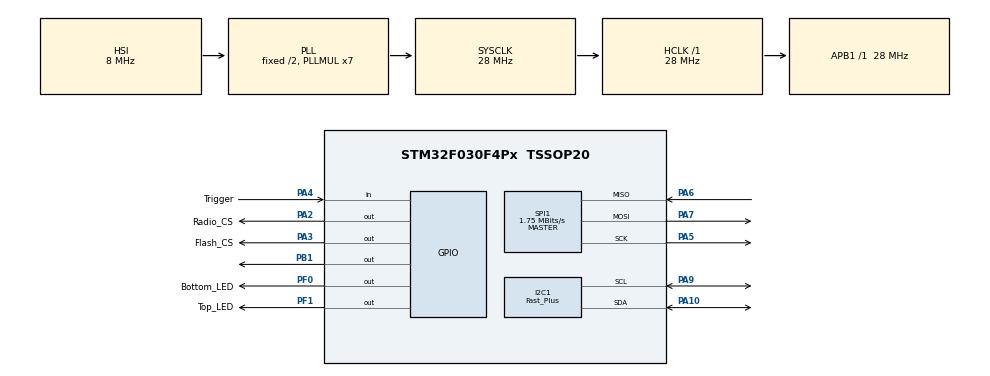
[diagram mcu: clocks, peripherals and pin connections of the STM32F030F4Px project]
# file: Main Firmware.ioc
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I2C1.I2C_Speed_Mode=I2C_Fast_Plus
I2C1.Timing=0x20000203
Mcu.Family=STM32F0
Mcu.Name=STM32F030F4Px
Mcu.Package=TSSOP20
PA10.Mode=I2C
PA10.Signal=I2C1_SDA
PA13.Mode=Serial_Wire
PA13.Signal=SYS_SWDIO
PA14.Mode=Serial_Wire
PA14.Signal=SYS_SWCLK
PA2.GPIO_Label=Radio_CS
PA2.GPIO_Speed=GPIO_SPEED_FREQ_HIGH
PA2.Signal=GPIO_Output
PA3.GPIO_Label=Flash_CS
PA3.GPIO_Speed=GPIO_SPEED_FREQ_HIGH
PA3.Signal=GPIO_Output
PA4.GPIO_Label=Trigger
PA4.GPIO_PuPd=GPIO_PULLUP
PA4.Signal=GPIO_Input
PA5.Mode=Full_Duplex_Master
PA5.Signal=SPI1_SCK
PA6.Mode=Full_Duplex_Master
PA6.Signal=SPI1_MISO
PA7.Mode=Full_Duplex_Master
PA7.Signal=SPI1_MOSI
PA9.Mode=I2C
PA9.Signal=I2C1_SCL
PB1.Signal=GPIO_Output
PF0-OSC_IN.GPIO_Label=Bottom_LED
PF0-OSC_IN.Signal=GPIO_Output
PF1-OSC_OUT.GPIO_Label=Top_LED
PF1-OSC_OUT.Signal=GPIO_Output
ProjectManager.HeapSize=0x200
ProjectManager.StackSize=0x400
ProjectManager.TargetToolchain=SW4STM32
RCC.AHBFreq_Value=28000000
RCC.APB1Freq_Value=28000000
RCC.APB1TimFreq_Value=28000000
RCC.HCLKFreq_Value=28000000
RCC.I2c1ClockSelection=RCC_I2C1CLKSOURCE_SYSCLK
RCC.PLLMUL=RCC_PLL_MUL7
RCC.SYSCLKFreq_VALUE=28000000
RCC.SYSCLKSource=RCC_SYSCLKSOURCE_PLLCLK
SPI1.BaudRatePrescaler=SPI_BAUDRATEPRESCALER_16
SPI1.CalculateBaudRate=1.75 MBits/s
SPI1.DataSize=SPI_DATASIZE_8BIT
SPI1.Direction=SPI_DIRECTION_2LINES
SPI1.Mode=SPI_MODE_MASTER
SPI1.VirtualType=VM_MASTER
board=custom

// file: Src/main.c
/**
  ******************************************************************************
  * @file           : main.c
  * @brief          : Main program body
  ******************************************************************************
  ** This notice applies to any and all portions of this file
  * that are not between comment pairs USER CODE BEGIN and
  * USER CODE END. Other portions of this file, whether
  * inserted by the user or by software development tools
  * are owned by their respective copyright owners.
  *
  * COPYRIGHT(c) 2019 STMicroelectronics
  *
  * Redistribution and use in source and binary forms, with or without modification,
  * are permitted provided that the following conditions are met:
  *   1. Redistributions of source code must retain the above copyright notice,
  *      this list of conditions and the following disclaimer.
  *   2. Redistributions in binary form must reproduce the above copyright notice,
  *      this list of conditions and the following disclaimer in the documentation
  *      and/or other materials provided with the distribution.
  *   3. Neither the name of STMicroelectronics nor the names of its contributors
  *      may be used to endorse or promote products derived from this software
  *      without specific prior written permission.
  *
  * THIS SOFTWARE IS PROVIDED BY THE COPYRIGHT HOLDERS AND CONTRIBUTORS "AS IS"
  * AND ANY EXPRESS OR IMPLIED WARRANTIES, INCLUDING, BUT NOT LIMITED TO, THE
  * IMPLIED WARRANTIES OF MERCHANTABILITY AND FITNESS FOR A PARTICULAR PURPOSE ARE
  * DISCLAIMED. IN NO EVENT SHALL THE COPYRIGHT HOLDER OR CONTRIBUTORS BE LIABLE
  * FOR ANY DIRECT, INDIRECT, INCIDENTAL, SPECIAL, EXEMPLARY, OR CONSEQUENTIAL
  * DAMAGES (INCLUDING, BUT NOT LIMITED TO, PROCUREMENT OF SUBSTITUTE GOODS OR
  * SERVICES; LOSS OF USE, DATA, OR PROFITS; OR BUSINESS INTERRUPTION) HOWEVER
  * CAUSED AND ON ANY THEORY OF LIABILITY, WHETHER IN CONTRACT, STRICT LIABILITY,
  * OR TORT (INCLUDING NEGLIGENCE OR OTHERWISE) ARISING IN ANY WAY OUT OF THE USE
  * OF THIS SOFTWARE, EVEN IF ADVISED OF THE POSSIBILITY OF SUCH DAMAGE.
  *
  ******************************************************************************
  */
#include "main.h"
#include "stm32f0xx_hal.h"

/* USER CODE BEGIN Includes */
#include "MY_NRF24.h"
#include "stdbool.h"
#define BIAS_LEVEL 127
/* USER CODE END Includes */

I2C_HandleTypeDef hi2c1;

SPI_HandleTypeDef hspi1;

/* USER CODE BEGIN PV */
/* Private variables ---------------------------------------------------------*/

/* USER CODE END PV */

void SystemClock_Config(void);
static void MX_GPIO_Init(void);
static void MX_I2C1_Init(void);
static void MX_SPI1_Init(void);

/* USER CODE BEGIN PFP */
/* Private function prototypes -----------------------------------------------*/

/* USER CODE END PFP */

/* USER CODE BEGIN 0 */
unsigned char buffer[3];

void dacOutput(char eightBitValue)
{

	//int twelveBitValue = eightBitValue * ((1 << 12) - 1) / ((1 << 8) - 1);
	int twelveBitValue = eightBitValue << 4 | eightBitValue >> 4;
	buffer[0] = 0x40;
	buffer[1] = twelveBitValue>>4;
	buffer[2] = twelveBitValue<<4;
	HAL_I2C_Master_Transmit(&hi2c1, 0x61<<1, buffer, 3, 50);
}

char flashRead(int location)
{
	uint8_t spiTxBuf[4], spiRxBuf[1];

	HAL_GPIO_WritePin(GPIOA, Flash_CS_Pin, RESET);

	spiTxBuf[0] = 0x03;
	spiTxBuf[1] = location>>16; //first byte of address
	spiTxBuf[2] = location>>8; //second byte of address
	spiTxBuf[3] = location; //third byte of address
	HAL_SPI_Transmit(&hspi1, spiTxBuf, 4, 10);
	HAL_SPI_Receive(&hspi1, spiRxBuf, 1, 10);
	//HAL_SPI_TransmitReceive(&hspi1, spiTxBuf, spiRxBuf, 4, 50);
	HAL_GPIO_WritePin(GPIOA, Flash_CS_Pin, SET);
	return spiRxBuf[0];
}

char rnd_number(uint8_t lower, uint8_t upper)
{
	srand(HAL_GetTick());
	return (rand() % (upper - lower + 1)) + lower;
}

void debias_speaker()
{
	for (int i = BIAS_LEVEL; i < 0; i--)
	{
		dacOutput(i);
	}
}

void playTrack(uint8_t track)
{
	static const unsigned int starts[25] = {
		0x005A16,
		0x00AD4A,
		0x00FE98,
		0x013185,
		0x01AA17,
		0x01F4B7,
		0x024641,
		0x02B936,
		0x032681,
		0x03700B,
		0x03DAAB,
		0x0433A1,
		0x046F2B,
		0x049637,
		0x04B8EB,
		0x051160,
		0x056E40,
		0x0592E0,
		0x065801,
		0x069C60,
		0x06FC6A,
		0x078ECA,
		0x07F0EB,
		0x0829F5,
		0x085F95
	};

	static const unsigned int ends[25] = {
		0x00AB8D,
		0x00FC63,
		0x012F64,
		0x01A708,
		0x01F339,
		0x0243AA,
		0x02B659,
		0x032151,
		0x036C90,
		0x03D568,
		0x043107,
		0x046D29,
		0x049342,
		0x04B685,
		0x050E0C,
		0x056BDF,
		0x0590B0,
		0x06566E,
		0x069AC0,
		0x06F9D5,
		0x078BEB,
		0x07EE27,
		0x082815,
		0x085CFA,
		0x08991E
	};

	for (int i = starts[track - 1]; i < ends[track - 1]; i++)
	{
		dacOutput(flashRead(i));
	}
	debias_speaker();
}

char shots = 0;
char waiting_for_reload = 0;
char pairing = 1;

void reload()
{
	shots = 0;
    waiting_for_reload = 0;

    for (int i = 0x002699; i < 0x005739; i++)
    {
	    dacOutput(flashRead(i));
    }
    debias_speaker();
}

void shoot(int delay)
{
	shots++;
    if (shots & 1)
    {
	    HAL_GPIO_WritePin(GPIOF, Top_LED_Pin, SET);
    }
    else
    {
	    HAL_GPIO_WritePin(GPIOF, Bottom_LED_Pin, SET);
    }

    for (int i = 0x00002c; i < 0x002474; i++)
    {
	    dacOutput(flashRead(i));
	    if (i == 0x0002c + delay)
	    {
		    HAL_GPIO_WritePin(GPIOF, Top_LED_Pin|Bottom_LED_Pin, RESET);
	    }
    }
    debias_speaker();
}

/* USER CODE END 0 */

int main(void)
{

  /* MCU Configuration----------------------------------------------------------*/

  /* Reset of all peripherals, Initializes the Flash interface and the Systick. */
  HAL_Init();

  /* Configure the system clock */
  SystemClock_Config();

  /* Initialize all configured peripherals */
  MX_GPIO_Init();
  MX_I2C1_Init();
  MX_SPI1_Init();
  /* USER CODE BEGIN 2 */
  char rxData[52];
  char step = 1;
  char master = 0;
  char channel_buffer[32];
  char channel_number;

  char track_buffer[32];
  char track_number;
  uint32_t last_time;

  /* Speaker Test
	for (int i = 0x00002c; i < 0x002474; i++)
	{
	  dacOutput(flashRead(i));
	}
	*/
	/*
	for (int i = 0x002699; i < 0x005739; i++)
	{
	  dacOutput(flashRead(i));
	}
	*/

	/* Init NRF24 */
	HAL_GPIO_WritePin(GPIOA, Flash_CS_Pin, SET);
	HAL_GPIO_WritePin(GPIOA, Radio_CS_Pin, RESET);

	HAL_Delay(100);

	NRF24_begin(GPIOA, Radio_CS_Pin, NULL, hspi1);

	NRF24_setAutoAck(true);
	NRF24_setChannel(0);
	NRF24_setPayloadSize(32);

	NRF24_stopListening();
	NRF24_openWritingPipe(0x11223344AA);
	NRF24_openReadingPipe(1, 0x11223344AA);

	last_time = HAL_GetTick();
  /* USER CODE END 2 */

  /* Infinite loop */
  /* USER CODE BEGIN WHILE */
  while (1)
  {
	  if (pairing)
	  {
		  /* This if block handles the "pairing blink" of the status laser */
		  if (HAL_GetTick() - last_time > 250)
		  {
			  last_time = HAL_GetTick();
			  HAL_GPIO_TogglePin(GPIOB, GPIO_PIN_1);
		  }

		  if (step == 1)
		  {
			  /* Try a shitload of times to broadcast successfully */
			  for (int i = 0; i < 100; i++)
			  {
				  if (NRF24_write("here", 32))
				  {
					  /* There's already a gun ready and waiting; Assume Slave */
					  master = 0;
					  i = 100;
				  }
				  else
				  {
					  /* Nobody here; Assume Master */
					  master = 1;
				  }
			  }

			  /* Attempts at broadcasting "here" complete, start listening */
			  NRF24_startListening();

			  /* Advance to next step */
			  step++;
		  }

		  if (step == 2)
		  {
			  if (master)
			  {
				  /* Listen for Slave "here" */
				  if (NRF24_available())
				  {
					  NRF24_read(rxData, 32);
					  if (strcmp(rxData, "here") == 0)
					  {
						  channel_number = rnd_number(1, 124);
						  itoa(channel_number, channel_buffer, 10);
						  step++;
					  }
				  }
			  }
			  else
			  {
				  step++;
			  }
		  }

		  if (step == 3)
		  {
			  if (master)
			  {
				  NRF24_stopListening();

				  for (int i = 0; i < 100; i++)
				  {
					  if (NRF24_write(channel_buffer, 32))
					  {
						  /* Finish */

						  /* Set Channel to picked channel */
						  NRF24_setChannel(channel_number);
						  pairing = 0;
						  i = 100;
					  }
				  }
			  }
			  else
			  {
				  if (NRF24_available())
				  {
					  NRF24_read(rxData, 32);

					  NRF24_setChannel(atoi(rxData));
					  NRF24_stopListening();
					  pairing = 0;
				  }
			  }
		  }
	  }
	  else
	  {
		  /* Pairing done, turning status laser to solid */
		  HAL_GPIO_WritePin(GPIOB, GPIO_PIN_1, SET);

		  if (waiting_for_reload)
		  {
			  if (master)
			  {
				  if (NRF24_write(track_buffer, 32))
				  {
					  /*
					   * At this point, the Slave has accepted our reload instruction.
					   *
					   * Both guns are now at the same point in our code, and we can assume they are perfectly synchronized.
					   */
					  reload();
					  playTrack(track_number);
				  }
			  }
			  else
			  {
				  if (NRF24_available())
				  {
					  /*
					   * At this point, the Master has broadcasted the reload instruction.
					   *
					   * Both guns are now at the same point in our code, and we can assume they are perfectly synchronized.
					   */
					  NRF24_read(rxData, 32);

					  reload();
					  playTrack(atoi(rxData));
				  }
			  }
		  }
		  else
		  {
			  /* Turn off radio for duration of shots */
			  NRF24_powerDown();

			  /* Trigger_Pin is active low */
			  if (!HAL_GPIO_ReadPin(GPIOA, Trigger_Pin))
			  {
				  /*
				   * Integer passed to shoot() function determines barrel LED flash duration.
				   *
				   * Calculation is roughly "(integer / 10) milliseconds"
				   *
				   * Thus "1000" is about 100ms
				   *
				   */
				  shoot(1000);

				  /* Personal preference, but I like this delay in here... feels better */
				  HAL_Delay(10);

				  if (shots == 4)
				  {
					  if (master)
					  {
						  /* Randomly pick, and then store track number in global variable */
						  track_number = rnd_number(0, 24);
						  itoa(track_number, track_buffer, 10);
					  }
					  else
					  {
						  /* Now we turn the radio back on, because we need to listen for the reload instruction from the Master */
						  NRF24_powerUp();
					  }
					  waiting_for_reload = 1;
				  }
			  }
		  }
	  }

  /* USER CODE END WHILE */

  }

}

void SystemClock_Config(void)
{

  RCC_OscInitTypeDef RCC_OscInitStruct;
  RCC_ClkInitTypeDef RCC_ClkInitStruct;
  RCC_PeriphCLKInitTypeDef PeriphClkInit;

    /**Initializes the CPU, AHB and APB busses clocks
    */
  RCC_OscInitStruct.OscillatorType = RCC_OSCILLATORTYPE_HSI;
  RCC_OscInitStruct.HSIState = RCC_HSI_ON;
  RCC_OscInitStruct.HSICalibrationValue = 16;
  RCC_OscInitStruct.PLL.PLLState = RCC_PLL_ON;
  RCC_OscInitStruct.PLL.PLLSource = RCC_PLLSOURCE_HSI;
  RCC_OscInitStruct.PLL.PLLMUL = RCC_PLL_MUL7;
  RCC_OscInitStruct.PLL.PREDIV = RCC_PREDIV_DIV1;
  if (HAL_RCC_OscConfig(&RCC_OscInitStruct) != HAL_OK)
  {
    _Error_Handler(__FILE__, __LINE__);
  }

    /**Initializes the CPU, AHB and APB busses clocks
    */
  RCC_ClkInitStruct.ClockType = RCC_CLOCKTYPE_HCLK|RCC_CLOCKTYPE_SYSCLK
                              |RCC_CLOCKTYPE_PCLK1;
  RCC_ClkInitStruct.SYSCLKSource = RCC_SYSCLKSOURCE_PLLCLK;
  RCC_ClkInitStruct.AHBCLKDivider = RCC_SYSCLK_DIV1;
  RCC_ClkInitStruct.APB1CLKDivider = RCC_HCLK_DIV1;

  if (HAL_RCC_ClockConfig(&RCC_ClkInitStruct, FLASH_LATENCY_1) != HAL_OK)
  {
    _Error_Handler(__FILE__, __LINE__);
  }

  PeriphClkInit.PeriphClockSelection = RCC_PERIPHCLK_I2C1;
  PeriphClkInit.I2c1ClockSelection = RCC_I2C1CLKSOURCE_SYSCLK;
  if (HAL_RCCEx_PeriphCLKConfig(&PeriphClkInit) != HAL_OK)
  {
    _Error_Handler(__FILE__, __LINE__);
  }

    /**Configure the Systick interrupt time
    */
  HAL_SYSTICK_Config(HAL_RCC_GetHCLKFreq()/1000);

    /**Configure the Systick
    */
  HAL_SYSTICK_CLKSourceConfig(SYSTICK_CLKSOURCE_HCLK);

  /* SysTick_IRQn interrupt configuration */
  HAL_NVIC_SetPriority(SysTick_IRQn, 0, 0);
}

/* I2C1 init function */
static void MX_I2C1_Init(void)
{

  hi2c1.Instance = I2C1;
  hi2c1.Init.Timing = 0x20000203;
  hi2c1.Init.OwnAddress1 = 0;
  hi2c1.Init.AddressingMode = I2C_ADDRESSINGMODE_7BIT;
  hi2c1.Init.DualAddressMode = I2C_DUALADDRESS_DISABLE;
  hi2c1.Init.OwnAddress2 = 0;
  hi2c1.Init.OwnAddress2Masks = I2C_OA2_NOMASK;
  hi2c1.Init.GeneralCallMode = I2C_GENERALCALL_DISABLE;
  hi2c1.Init.NoStretchMode = I2C_NOSTRETCH_DISABLE;
  if (HAL_I2C_Init(&hi2c1) != HAL_OK)
  {
    _Error_Handler(__FILE__, __LINE__);
  }

    /**Configure Analogue filter
    */
  if (HAL_I2CEx_ConfigAnalogFilter(&hi2c1, I2C_ANALOGFILTER_ENABLE) != HAL_OK)
  {
    _Error_Handler(__FILE__, __LINE__);
  }

    /**Configure Digital filter
    */
  if (HAL_I2CEx_ConfigDigitalFilter(&hi2c1, 0) != HAL_OK)
  {
    _Error_Handler(__FILE__, __LINE__);
  }

    /**I2C Fast mode Plus enable
    */
  __HAL_SYSCFG_FASTMODEPLUS_ENABLE(I2C_FASTMODEPLUS_I2C1);

}

/* SPI1 init function */
static void MX_SPI1_Init(void)
{

  /* SPI1 parameter configuration*/
  hspi1.Instance = SPI1;
  hspi1.Init.Mode = SPI_MODE_MASTER;
  hspi1.Init.Direction = SPI_DIRECTION_2LINES;
  hspi1.Init.DataSize = SPI_DATASIZE_8BIT;
  hspi1.Init.CLKPolarity = SPI_POLARITY_LOW;
  hspi1.Init.CLKPhase = SPI_PHASE_1EDGE;
  hspi1.Init.NSS = SPI_NSS_SOFT;
  hspi1.Init.BaudRatePrescaler = SPI_BAUDRATEPRESCALER_16;
  hspi1.Init.FirstBit = SPI_FIRSTBIT_MSB;
  hspi1.Init.TIMode = SPI_TIMODE_DISABLE;
  hspi1.Init.CRCCalculation = SPI_CRCCALCULATION_DISABLE;
  hspi1.Init.CRCPolynomial = 7;
  hspi1.Init.CRCLength = SPI_CRC_LENGTH_DATASIZE;
  hspi1.Init.NSSPMode = SPI_NSS_PULSE_ENABLE;
  if (HAL_SPI_Init(&hspi1) != HAL_OK)
  {
    _Error_Handler(__FILE__, __LINE__);
  }

}

/** Configure pins as
        * Analog
        * Input
        * Output
        * EVENT_OUT
        * EXTI
*/
static void MX_GPIO_Init(void)
{

  GPIO_InitTypeDef GPIO_InitStruct;

  /* GPIO Ports Clock Enable */
  __HAL_RCC_GPIOF_CLK_ENABLE();
  __HAL_RCC_GPIOA_CLK_ENABLE();
  __HAL_RCC_GPIOB_CLK_ENABLE();

  /*Configure GPIO pin Output Level */
  HAL_GPIO_WritePin(GPIOF, Bottom_LED_Pin|Top_LED_Pin, GPIO_PIN_RESET);

  /*Configure GPIO pin Output Level */
  HAL_GPIO_WritePin(GPIOA, Radio_CS_Pin|Flash_CS_Pin, GPIO_PIN_RESET);

  /*Configure GPIO pin Output Level */
  HAL_GPIO_WritePin(GPIOB, GPIO_PIN_1, GPIO_PIN_RESET);

  /*Configure GPIO pins : Bottom_LED_Pin Top_LED_Pin */
  GPIO_InitStruct.Pin = Bottom_LED_Pin|Top_LED_Pin;
  GPIO_InitStruct.Mode = GPIO_MODE_OUTPUT_PP;
  GPIO_InitStruct.Pull = GPIO_NOPULL;
  GPIO_InitStruct.Speed = GPIO_SPEED_FREQ_LOW;
  HAL_GPIO_Init(GPIOF, &GPIO_InitStruct);

  /*Configure GPIO pins : Radio_CS_Pin Flash_CS_Pin */
  GPIO_InitStruct.Pin = Radio_CS_Pin|Flash_CS_Pin;
  GPIO_InitStruct.Mode = GPIO_MODE_OUTPUT_PP;
  GPIO_InitStruct.Pull = GPIO_NOPULL;
  GPIO_InitStruct.Speed = GPIO_SPEED_FREQ_HIGH;
  HAL_GPIO_Init(GPIOA, &GPIO_InitStruct);

  /*Configure GPIO pin : Trigger_Pin */
  GPIO_InitStruct.Pin = Trigger_Pin;
  GPIO_InitStruct.Mode = GPIO_MODE_INPUT;
  GPIO_InitStruct.Pull = GPIO_PULLUP;
  HAL_GPIO_Init(Trigger_GPIO_Port, &GPIO_InitStruct);

  /*Configure GPIO pin : PB1 */
  GPIO_InitStruct.Pin = GPIO_PIN_1;
  GPIO_InitStruct.Mode = GPIO_MODE_OUTPUT_PP;
  GPIO_InitStruct.Pull = GPIO_NOPULL;
  GPIO_InitStruct.Speed = GPIO_SPEED_FREQ_LOW;
  HAL_GPIO_Init(GPIOB, &GPIO_InitStruct);

}

void _Error_Handler(char *file, int line)
{
  while(1)
  {
  }
}

/************************ (C) COPYRIGHT STMicroelectronics *****END OF FILE****/
